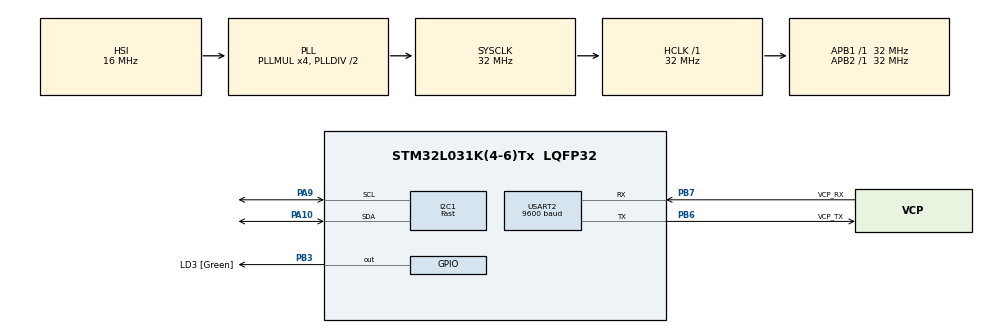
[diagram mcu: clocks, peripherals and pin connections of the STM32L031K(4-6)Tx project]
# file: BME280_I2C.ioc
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I2C1.I2C_Speed_Mode=I2C_Fast
I2C1.Timing=0x00300F38
Mcu.Family=STM32L0
Mcu.Name=STM32L031K(4-6)Tx
Mcu.Package=LQFP32
NVIC.I2C1_IRQn=true\:0\:0\:false\:false\:true\:true\:true
PA10.Mode=I2C
PA10.Signal=I2C1_SDA
PA13.GPIO_Label=TMS
PA13.Mode=Serial_Wire
PA13.Signal=SYS_SWDIO
PA14.GPIO_Label=TCK
PA14.Mode=Serial_Wire
PA14.Signal=SYS_SWCLK
PA9.Mode=I2C
PA9.Signal=I2C1_SCL
PB3.GPIO_Label=LD3 [Green]
PB3.Signal=GPIO_Output
PB6.GPIO_Label=VCP_TX
PB6.Mode=Asynchronous
PB6.Signal=USART2_TX
PB7.GPIO_Label=VCP_RX
PB7.Mode=Asynchronous
PB7.Signal=USART2_RX
PC14-OSC32_IN.Mode=LSE-External-Oscillator
PC14-OSC32_IN.Signal=RCC_OSC32_IN
PC15-OSC32_OUT.Mode=LSE-External-Oscillator
PC15-OSC32_OUT.Signal=RCC_OSC32_OUT
ProjectManager.HeapSize=0x200
ProjectManager.StackSize=0x400
ProjectManager.TargetToolchain=MDK-ARM V5
RCC.AHBFreq_Value=32000000
RCC.APB1Freq_Value=32000000
RCC.APB1TimFreq_Value=32000000
RCC.APB2Freq_Value=32000000
RCC.APB2TimFreq_Value=32000000
RCC.HCLKFreq_Value=32000000
RCC.HSE_VALUE=8000000
RCC.HSI16_VALUE=16000000
RCC.HSI48_VALUE=48000000
RCC.HSI_VALUE=16000000
RCC.MSI_VALUE=2097000
RCC.PLLMUL=RCC_PLLMUL_4
RCC.SYSCLKFreq_VALUE=32000000
RCC.SYSCLKSource=RCC_SYSCLKSOURCE_PLLCLK
RCC.VCOOutputFreq_Value=64000000
USART2.BaudRate=9600
USART2.VirtualMode-Asynchronous=VM_ASYNC
board=NUCLEO-L031K6

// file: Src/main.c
/* USER CODE BEGIN Header */
/**
  ******************************************************************************
  * @file           : main.c
  * @brief          : Main program body
  ******************************************************************************
  * @attention
  *
  * <h2><center>&copy; Copyright (c) 2019 STMicroelectronics.
  * All rights reserved.</center></h2>
  *
  * This software component is licensed by ST under BSD 3-Clause license,
  * the "License"; You may not use this file except in compliance with the
  * License. You may obtain a copy of the License at:
  *                        opensource.org/licenses/BSD-3-Clause
  *
  ******************************************************************************
  */
/* USER CODE END Header */

#include "main.h"

/* USER CODE BEGIN Includes */
#include <string.h>
#include "BME280.h"
#include <stdio.h>
/* USER CODE END Includes */

I2C_HandleTypeDef hi2c1;

UART_HandleTypeDef huart2;

/* USER CODE BEGIN PV */
char str1[100];
/* USER CODE END PV */

void SystemClock_Config(void);
static void MX_GPIO_Init(void);
static void MX_I2C1_Init(void);
static void MX_USART2_UART_Init(void);

int main(void)
{
  /* USER CODE BEGIN 1 */
	float tf = 0.0f, pf = 0.0f, af = 0.0f, hf = 0.0f;
  /* USER CODE END 1 */

  /* MCU Configuration--------------------------------------------------------*/

  /* Reset of all peripherals, Initializes the Flash interface and the Systick. */
  HAL_Init();

  /* Configure the system clock */
  SystemClock_Config();

  /* Initialize all configured peripherals */
  MX_GPIO_Init();
  MX_I2C1_Init();
  MX_USART2_UART_Init();
  /* USER CODE BEGIN 2 */
	BME280_Init();
  /* USER CODE END 2 */

  /* Infinite loop */
  while (1)
  {

    /* USER CODE BEGIN 3 */
		tf = BME280_ReadTemperature();
		sprintf(str1, "Temperature: %.3f *C\r\n", tf);
		HAL_UART_Transmit(&huart2,(uint8_t*)str1,strlen(str1),0x1000);
		pf = BME280_ReadPressure();
		sprintf(str1, "Pressure: %.3f Pa; %.3f hPa; %.3f mmHg\r\n", pf, pf/1000.0f, pf * 0.000750061683f);
		HAL_UART_Transmit(&huart2,(uint8_t*)str1,strlen(str1),0x1000);
		af = BME280_ReadAltitude(SEALEVELPRESSURE_PA);
		sprintf(str1, "Altitude: %.3f m\r\n", af);
		HAL_UART_Transmit(&huart2,(uint8_t*)str1,strlen(str1),0x1000);
		hf = BME280_ReadHumidity();
		sprintf(str1, "Humidity: %.3f %%\r\n", hf);
		HAL_UART_Transmit(&huart2,(uint8_t*)str1,strlen(str1),0x1000);
		HAL_Delay(1000);
  }
  /* USER CODE END 3 */
}

void SystemClock_Config(void)
{
  RCC_OscInitTypeDef RCC_OscInitStruct = {0};
  RCC_ClkInitTypeDef RCC_ClkInitStruct = {0};
  RCC_PeriphCLKInitTypeDef PeriphClkInit = {0};

  /** Configure the main internal regulator output voltage
  */
  __HAL_PWR_VOLTAGESCALING_CONFIG(PWR_REGULATOR_VOLTAGE_SCALE1);
  /** Initializes the CPU, AHB and APB busses clocks
  */
  RCC_OscInitStruct.OscillatorType = RCC_OSCILLATORTYPE_HSI;
  RCC_OscInitStruct.HSIState = RCC_HSI_ON;
  RCC_OscInitStruct.HSICalibrationValue = RCC_HSICALIBRATION_DEFAULT;
  RCC_OscInitStruct.PLL.PLLState = RCC_PLL_ON;
  RCC_OscInitStruct.PLL.PLLSource = RCC_PLLSOURCE_HSI;
  RCC_OscInitStruct.PLL.PLLMUL = RCC_PLLMUL_4;
  RCC_OscInitStruct.PLL.PLLDIV = RCC_PLLDIV_2;
  if (HAL_RCC_OscConfig(&RCC_OscInitStruct) != HAL_OK)
  {
    Error_Handler();
  }
  /** Initializes the CPU, AHB and APB busses clocks
  */
  RCC_ClkInitStruct.ClockType = RCC_CLOCKTYPE_HCLK|RCC_CLOCKTYPE_SYSCLK
                              |RCC_CLOCKTYPE_PCLK1|RCC_CLOCKTYPE_PCLK2;
  RCC_ClkInitStruct.SYSCLKSource = RCC_SYSCLKSOURCE_PLLCLK;
  RCC_ClkInitStruct.AHBCLKDivider = RCC_SYSCLK_DIV1;
  RCC_ClkInitStruct.APB1CLKDivider = RCC_HCLK_DIV1;
  RCC_ClkInitStruct.APB2CLKDivider = RCC_HCLK_DIV1;

  if (HAL_RCC_ClockConfig(&RCC_ClkInitStruct, FLASH_LATENCY_1) != HAL_OK)
  {
    Error_Handler();
  }
  PeriphClkInit.PeriphClockSelection = RCC_PERIPHCLK_USART2|RCC_PERIPHCLK_I2C1;
  PeriphClkInit.Usart2ClockSelection = RCC_USART2CLKSOURCE_PCLK1;
  PeriphClkInit.I2c1ClockSelection = RCC_I2C1CLKSOURCE_PCLK1;
  if (HAL_RCCEx_PeriphCLKConfig(&PeriphClkInit) != HAL_OK)
  {
    Error_Handler();
  }
}

static void MX_I2C1_Init(void)
{

  hi2c1.Instance = I2C1;
  hi2c1.Init.Timing = 0x00300F38;
  hi2c1.Init.OwnAddress1 = 0;
  hi2c1.Init.AddressingMode = I2C_ADDRESSINGMODE_7BIT;
  hi2c1.Init.DualAddressMode = I2C_DUALADDRESS_DISABLE;
  hi2c1.Init.OwnAddress2 = 0;
  hi2c1.Init.OwnAddress2Masks = I2C_OA2_NOMASK;
  hi2c1.Init.GeneralCallMode = I2C_GENERALCALL_DISABLE;
  hi2c1.Init.NoStretchMode = I2C_NOSTRETCH_DISABLE;
  if (HAL_I2C_Init(&hi2c1) != HAL_OK)
  {
    Error_Handler();
  }
  /** Configure Analogue filter
  */
  if (HAL_I2CEx_ConfigAnalogFilter(&hi2c1, I2C_ANALOGFILTER_ENABLE) != HAL_OK)
  {
    Error_Handler();
  }
  /** Configure Digital filter
  */
  if (HAL_I2CEx_ConfigDigitalFilter(&hi2c1, 0) != HAL_OK)
  {
    Error_Handler();
  }

}

static void MX_USART2_UART_Init(void)
{

  huart2.Instance = USART2;
  huart2.Init.BaudRate = 9600;
  huart2.Init.WordLength = UART_WORDLENGTH_8B;
  huart2.Init.StopBits = UART_STOPBITS_1;
  huart2.Init.Parity = UART_PARITY_NONE;
  huart2.Init.Mode = UART_MODE_TX_RX;
  huart2.Init.HwFlowCtl = UART_HWCONTROL_NONE;
  huart2.Init.OverSampling = UART_OVERSAMPLING_16;
  huart2.Init.OneBitSampling = UART_ONE_BIT_SAMPLE_DISABLE;
  huart2.AdvancedInit.AdvFeatureInit = UART_ADVFEATURE_NO_INIT;
  if (HAL_UART_Init(&huart2) != HAL_OK)
  {
    Error_Handler();
  }

}

static void MX_GPIO_Init(void)
{
  GPIO_InitTypeDef GPIO_InitStruct = {0};

  /* GPIO Ports Clock Enable */
  __HAL_RCC_GPIOC_CLK_ENABLE();
  __HAL_RCC_GPIOA_CLK_ENABLE();
  __HAL_RCC_GPIOB_CLK_ENABLE();

  /*Configure GPIO pin Output Level */
  HAL_GPIO_WritePin(LD3_GPIO_Port, LD3_Pin, GPIO_PIN_RESET);

  /*Configure GPIO pin : LD3_Pin */
  GPIO_InitStruct.Pin = LD3_Pin;
  GPIO_InitStruct.Mode = GPIO_MODE_OUTPUT_PP;
  GPIO_InitStruct.Pull = GPIO_NOPULL;
  GPIO_InitStruct.Speed = GPIO_SPEED_FREQ_LOW;
  HAL_GPIO_Init(LD3_GPIO_Port, &GPIO_InitStruct);

}

void Error_Handler(void)
{
}

/************************ (C) COPYRIGHT STMicroelectronics *****END OF FILE****/
